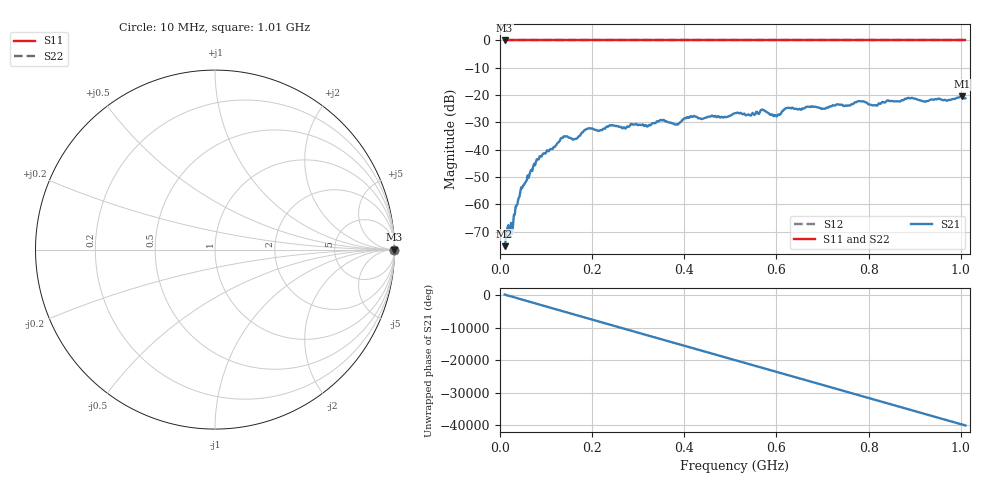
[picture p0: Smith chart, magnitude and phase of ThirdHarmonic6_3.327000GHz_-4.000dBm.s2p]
! 8/17/2025 10:26:21 AM
! C:\ANRITSUVNA\TEMP\TEMP.S2P
! CHANNEL.1
! TR.MEASUREMENT
! RAW.DATA
! RF.CORRECTION.OFF
! AVERAGING.OFF
! IF.BANDWIDTH: 5KHZ
! SWEEPTYPE:  FREQ.SWEEP(Linear)
! Reference Plane Port Info
! PORT:  PORT1  PORT2
! DISTANCE:  0  m  0  m
! TIME:  0  s  0  s
! PHASE.OFFSET:  0  deg.  0  deg.
! LOSS:  0  dB  0  dB
! REF.LOSS:  0  dB  0  dB
! REF.FREQ:  0  Hz  0  Hz
! Power Info
! POWER:  -20  dBm  -20  dBm
! EFF.POWER:  -20  dBm  -20  dBm
! SOURCE.ATTEN:  0  dB  0  dB
! TEST.ATTEN:  0  dB  0  dB
# GHZ S RI R 50.0
! FREQ.GHZ  S11RE  S11IM  S21RE  S21IM  S12RE  S12IM  S22RE  S22IM
!; PortSelection: Port_12
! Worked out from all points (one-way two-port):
!   501 points, 10 MHz to 1.01 GHz, reference 50 ohm
!   highest |S21| = -20.48 dB at 1.002 GHz (marker M1); lowest = -75.4 dB at 10 MHz (marker M2)
!   lowest |S11| = 0.0 dB at 10 MHz (marker M3)
!   |S11| at or under -10 dB: nowhere
!   |S22| runs from 0.0 to 0.0 dB; largest |S21 - S12| = 1.1
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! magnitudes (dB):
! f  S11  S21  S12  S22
! 10 MHz  0.0  -75.4  0.0  0.0
! 20 MHz  0.0  -72.1  0.0  0.0
! 24 MHz  0.0  -66.8  0.0  0.0
! 34 MHz  0.0  -60.7  0.0  0.0
! 48 MHz  0.0  -54.1  0.0  0.0
! 82 MHz  0.0  -43.5  0.0  0.0
! 136 MHz  0.0  -35.7  0.0  0.0
! 162 MHz  0.0  -36.2  0.0  0.0
! 178 MHz  0.0  -33.8  0.0  0.0
! 344 MHz  0.0  -29.7  0.0  0.0
! 382 MHz  0.0  -30.8  0.0  0.0
! 416 MHz  0.0  -27.9  0.0  0.0
! 510 MHz  0.0  -26.6  0.0  0.0
! 570 MHz  0.0  -25.3  0.0  0.0
! 598 MHz  0.0  -27.4  0.0  0.0
! 624 MHz  0.0  -24.7  0.0  0.0
! 678 MHz  0.0  -24.2  0.0  0.0
! 782 MHz  0.0  -22.3  0.0  0.0
! 814 MHz  0.0  -23.7  0.0  0.0
! 844 MHz  0.0  -22.1  0.0  0.0
! 1.002 GHz  0.0  -20.5  0.0  0.0
! 1.01 GHz  0.0  -21.2  0.0  0.0
